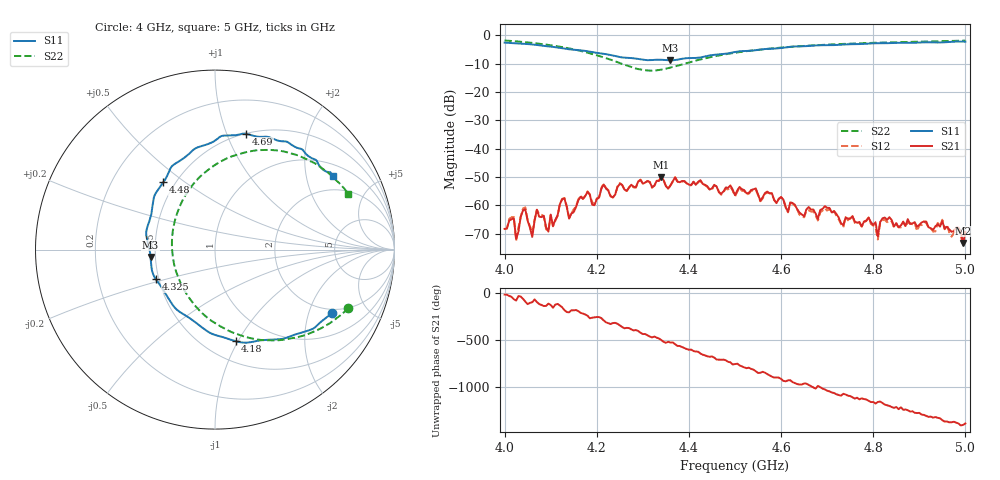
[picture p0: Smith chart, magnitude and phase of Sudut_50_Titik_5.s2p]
# Hz S RI R 50
! CMT, C1220, 16058040, 17.2.0/1
! Date: 15/08/2018 12:18:45
! Data: Format (Calibration Info)
! Freq  S11: Re/Im (F2)  S21: Re/Im (F2)  S12: Re/Im (F2)  S22: Re/Im (F2)
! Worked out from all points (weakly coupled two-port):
!   201 points, 4 GHz to 5 GHz, reference 50 ohm
!   highest |S21| = -50.03 dB at 4.34 GHz (marker M1); lowest = -73.2 dB at 4.995 GHz (marker M2)
!   lowest |S11| = -8.8 dB at 4.36 GHz (marker M3), VSWR 2.13, Z = 23.5 - j2.22 ohm
!   |S11| at or under -10 dB: nowhere
!   |S22| runs from -12.5 to -1.8 dB; largest |S21 - S12| = 0.00014
!   S11 on the Smith chart (normalised r, x): 4 GHz: 1.83, -2.87; 4.18 GHz: 0.70, -0.98; 4.325 GHz: 0.48, -0.18; 4.48 GHz: 0.43, +0.42; 4.69 GHz: 0.50, +1.18; 5 GHz: 1.42, +2.86
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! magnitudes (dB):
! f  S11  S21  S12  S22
! 4 GHz  -2.6  -68.2  -68.4  -1.8
! 4.02 GHz  -2.8  -64.4  -64.1  -2.1
! 4.025 GHz  -2.9  -71.8  -72.3  -2.1
! 4.045 GHz  -3.0  -61.4  -60.6  -2.4
! 4.06 GHz  -3.2  -71.1  -69.6  -2.7
! 4.07 GHz  -3.4  -61.5  -61.5  -2.9
! 4.095 GHz  -3.9  -69.2  -69.0  -3.4
! 4.125 GHz  -4.6  -57.7  -57.8  -4.2
! 4.17 GHz  -5.4  -57.7  -57.6  -5.7
! 4.18 GHz  -5.6  -55.2  -55.0  -6.1
! 4.325 GHz  -8.7  -53.1  -53.0  -12.4
! 4.335 GHz  -8.6  -51.3  -51.3  -12.3
! 4.34 GHz  -8.6  -50.0  -50.1  -12.1
! 4.36 GHz  -8.8  -52.9  -52.9  -11.4
! 4.48 GHz  -6.5  -53.7  -54.2  -6.7
! 4.5 GHz  -5.9  -56.4  -56.8  -6.2
! 4.67 GHz  -3.6  -61.4  -62.2  -3.6
! 4.69 GHz  -3.5  -61.2  -61.8  -3.4
! 4.81 GHz  -2.8  -70.9  -72.0  -2.6
! 4.835 GHz  -2.8  -64.1  -65.3  -2.5
! 4.995 GHz  -2.2  -73.2  -74.3  -1.9
! 5 GHz  -2.2  -69.6  -69.0  -1.9
